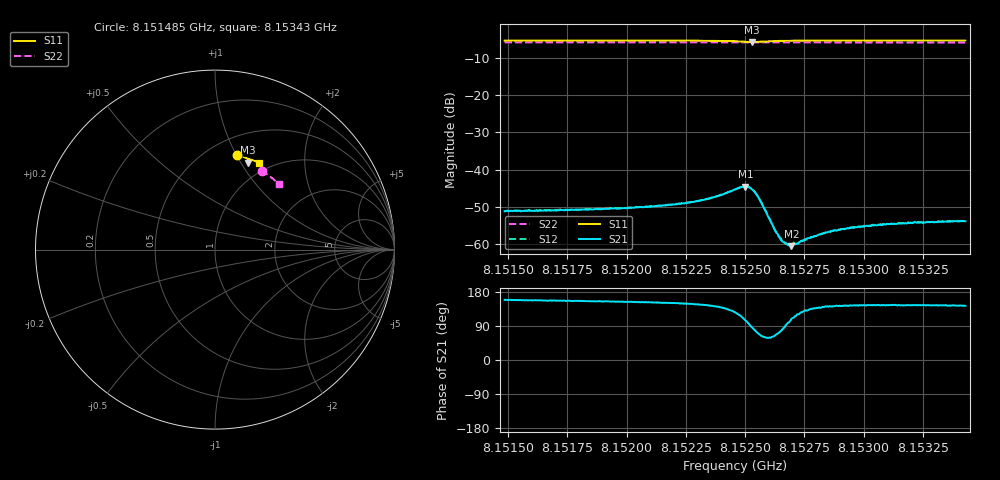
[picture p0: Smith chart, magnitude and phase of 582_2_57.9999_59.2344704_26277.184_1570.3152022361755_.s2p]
#  HZ  S  RI  R  50.00
! Rohde & Schwarz Vector Network Analyzer
! Rohde-Schwarz,ZNB20-2Port,1311601062101988,3.16
! Created: UTC 3/21/2024, 1:16:22 AM
! freq[Hz]  re:S11  im:S11  re:S21  im:S21  re:S12  im:S12  re:S22  im:S22
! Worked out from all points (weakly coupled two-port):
!   401 points, 8.151485 GHz to 8.15343 GHz, reference 50 ohm
!   highest |S21| = -44.55 dB at 8.152501 GHz (marker M1); lowest = -60.6 dB at 8.152696 GHz (marker M2)
!   lowest |S11| = -5.7 dB at 8.15253 GHz (marker M3), VSWR 3.14, Z = 40.6 + j53.7 ohm
!   |S11| at or under -10 dB: nowhere
!   |S22| runs from -5.9 to -5.8 dB; largest |S21 - S12| = 0.00014
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8.1514852e9  0.123 0.5256  -0.00257 0.000998  -0.00256 0.00103  0.2601 0.4403
8.1518109e9  0.1458 0.5203  -0.00266 0.00119  -0.00265 0.00124  0.2778 0.4291
8.1521366e9  0.169 0.5134  -0.00286 0.00158  -0.0029 0.0016  0.2947 0.4168
8.1522532e9  0.1779 0.5099  -0.00306 0.00188  -0.00304 0.00192  0.3007 0.4123
8.1523261e9  0.1839 0.5069  -0.00322 0.00224  -0.00321 0.00233  0.3044 0.4095
8.1523942e9  0.19 0.5022  -0.00341 0.00295  -0.00346 0.00301  0.3078 0.4067
8.1524574e9  0.1945 0.4939  -0.00316 0.00435  -0.00313 0.00446  0.3109 0.4038
8.1525011e9  0.1909 0.4851  -0.00156 0.00571  -0.00147 0.00578  0.3126 0.4021
8.1525157e9  0.1871 0.4836  -0.000556 0.00577  -0.000484 0.00587  0.3132 0.4013
8.1525303e9  0.1829 0.4841  0.000457 0.00537  0.000535 0.00543  0.3136 0.4011
8.1525595e9  0.1781 0.4901  0.00153 0.00375  0.00158 0.00377  0.3152 0.4002
8.1526178e9  0.1831 0.5001  0.000814 0.00154  0.000866 0.00154  0.3181 0.3982
8.1526518e9  0.1878 0.502  0.00025 0.0011  0.000268 0.00115  0.3199 0.3969
8.1526664e9  0.1897 0.5021  7.01e-05 0.00105  2.17e-05 0.00102  0.3207 0.3961
8.1526761e9  0.1908 0.5023  -8.89e-05 0.001  -7.22e-05 0.00101  0.3213 0.396
8.1526956e9  0.1929 0.5024  -0.000299 0.000888  -0.000279 0.000932  0.3223 0.3951
8.1527199e9  0.1954 0.5022  -0.000512 0.000868  -0.000474 0.0009  0.3234 0.3941
8.1527831e9  0.2013 0.5011  -0.000883 0.000879  -0.000874 0.000889  0.3265 0.3915
8.1528705e9  0.2085 0.4992  -0.00118 0.000943  -0.00117 0.000943  0.3307 0.3877
8.1529532e9  0.2145 0.4971  -0.00135 0.000992  -0.00133 0.001  0.3346 0.3843
8.1531087e9  0.2255 0.4928  -0.00151 0.00107  -0.00151 0.00108  0.3419 0.3774
8.1534295e9  0.2466 0.4834  -0.00162 0.00121  -0.00162 0.00125  0.3566 0.3632
